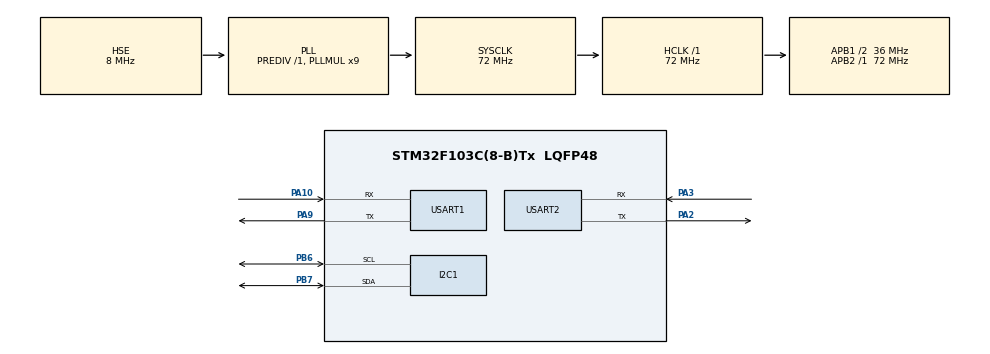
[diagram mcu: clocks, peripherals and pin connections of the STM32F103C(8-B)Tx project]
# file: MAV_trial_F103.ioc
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Mcu.Family=STM32F1
Mcu.Name=STM32F103C(8-B)Tx
Mcu.Package=LQFP48
NVIC.I2C1_EV_IRQn=true\:0\:0\:false\:false\:true\:true\:true\:true
NVIC.PriorityGroup=NVIC_PRIORITYGROUP_4
NVIC.USART1_IRQn=true\:0\:0\:false\:false\:true\:true\:true\:true
NVIC.USART2_IRQn=true\:0\:0\:false\:false\:true\:true\:true\:true
PA10.Mode=Asynchronous
PA10.Signal=USART1_RX
PA13.Mode=Serial_Wire
PA13.Signal=SYS_JTMS-SWDIO
PA14.Mode=Serial_Wire
PA14.Signal=SYS_JTCK-SWCLK
PA2.Mode=Asynchronous
PA2.Signal=USART2_TX
PA3.Mode=Asynchronous
PA3.Signal=USART2_RX
PA9.Mode=Asynchronous
PA9.Signal=USART1_TX
PB6.Mode=I2C
PB6.Signal=I2C1_SCL
PB7.Mode=I2C
PB7.Signal=I2C1_SDA
PD0-OSC_IN.Mode=HSE-External-Oscillator
PD0-OSC_IN.Signal=RCC_OSC_IN
PD1-OSC_OUT.Mode=HSE-External-Oscillator
PD1-OSC_OUT.Signal=RCC_OSC_OUT
ProjectManager.HeapSize=0x200
ProjectManager.StackSize=0x400
ProjectManager.TargetToolchain=Makefile
RCC.AHBFreq_Value=72000000
RCC.APB1CLKDivider=RCC_HCLK_DIV2
RCC.APB1Freq_Value=36000000
RCC.APB1TimFreq_Value=72000000
RCC.APB2Freq_Value=72000000
RCC.APB2TimFreq_Value=72000000
RCC.HCLKFreq_Value=72000000
RCC.PLLMUL=RCC_PLL_MUL9
RCC.PLLSourceVirtual=RCC_PLLSOURCE_HSE
RCC.SYSCLKFreq_VALUE=72000000
RCC.SYSCLKSource=RCC_SYSCLKSOURCE_PLLCLK
RCC.USBFreq_Value=72000000
USART1.VirtualMode=VM_ASYNC
USART2.VirtualMode=VM_ASYNC
board=custom

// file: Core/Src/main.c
/* USER CODE BEGIN Header */
/**
  ******************************************************************************
  * @file           : main.c
  * @brief          : Main program body
  ******************************************************************************
  * @attention
  *
  * Copyright (c) 2024 STMicroelectronics.
  * All rights reserved.
  *
  * This software is licensed under terms that can be found in the LICENSE file
  * in the root directory of this software component.
  * If no LICENSE file comes with this software, it is provided AS-IS.
  *
  ******************************************************************************
  */
/* USER CODE END Header */
#include "main.h"
#include "i2c.h"
#include "usart.h"
#include "gpio.h"

/* USER CODE BEGIN Includes */
#include "wtr_mavlink.h"
#include "oled.h"
//#include "oledfont.h"
/* USER CODE END Includes */

void SystemClock_Config(void);

/* USER CODE BEGIN 0 */
mavlink_speed_t SPEEDStructToBeSend, SPEEDStructReceived;

/* USER CODE END 0 */

int main(void)
{

  /* MCU Configuration--------------------------------------------------------*/

  /* Reset of all peripherals, Initializes the Flash interface and the Systick. */
  HAL_Init();

  /* Configure the system clock */
  SystemClock_Config();

  /* Initialize all configured peripherals */
  MX_GPIO_Init();
  MX_I2C1_Init();
  MX_USART1_UART_Init();
  MX_USART2_UART_Init();
  /* USER CODE BEGIN 2 */

 // SPEEDStructToBeSend.vx = 0;
 // SPEEDStructToBeSend.vy = 0;
 // SPEEDStructToBeSend.vz = 0;
//绑定通道与串口
  wtrMavlink_BindChannel(&huart1, MAVLINK_COMM_0);
  wtrMavlink_BindChannel(&huart2, MAVLINK_COMM_1);

  //使能
  wtrMavlink_StartReceiveIT(MAVLINK_COMM_0);
  wtrMavlink_StartReceiveIT(MAVLINK_COMM_1);

   OLED_Init(); //屏幕初始化
   OLED_Clear(); //先清屏

  /* USER CODE END 2 */

  /* Infinite loop */
  while (1)
  {

    /* USER CODE BEGIN 3 */
      //模拟变化量
    SPEEDStructToBeSend.vx +=1;
    SPEEDStructToBeSend.vy +=1;
    SPEEDStructToBeSend.vz +=1;

    mavlink_msg_speed_send_struct(MAVLINK_COMM_0, &SPEEDStructToBeSend);

  }
  /* USER CODE END 3 */
}

void SystemClock_Config(void)
{
  RCC_OscInitTypeDef RCC_OscInitStruct = {0};
  RCC_ClkInitTypeDef RCC_ClkInitStruct = {0};

  /** Initializes the RCC Oscillators according to the specified parameters
  * in the RCC_OscInitTypeDef structure.
  */
  RCC_OscInitStruct.OscillatorType = RCC_OSCILLATORTYPE_HSE;
  RCC_OscInitStruct.HSEState = RCC_HSE_ON;
  RCC_OscInitStruct.HSEPredivValue = RCC_HSE_PREDIV_DIV1;
  RCC_OscInitStruct.HSIState = RCC_HSI_ON;
  RCC_OscInitStruct.PLL.PLLState = RCC_PLL_ON;
  RCC_OscInitStruct.PLL.PLLSource = RCC_PLLSOURCE_HSE;
  RCC_OscInitStruct.PLL.PLLMUL = RCC_PLL_MUL9;
  if (HAL_RCC_OscConfig(&RCC_OscInitStruct) != HAL_OK)
  {
    Error_Handler();
  }

  /** Initializes the CPU, AHB and APB buses clocks
  */
  RCC_ClkInitStruct.ClockType = RCC_CLOCKTYPE_HCLK|RCC_CLOCKTYPE_SYSCLK
                              |RCC_CLOCKTYPE_PCLK1|RCC_CLOCKTYPE_PCLK2;
  RCC_ClkInitStruct.SYSCLKSource = RCC_SYSCLKSOURCE_PLLCLK;
  RCC_ClkInitStruct.AHBCLKDivider = RCC_SYSCLK_DIV1;
  RCC_ClkInitStruct.APB1CLKDivider = RCC_HCLK_DIV2;
  RCC_ClkInitStruct.APB2CLKDivider = RCC_HCLK_DIV1;

  if (HAL_RCC_ClockConfig(&RCC_ClkInitStruct, FLASH_LATENCY_2) != HAL_OK)
  {
    Error_Handler();
  }
}

/* USER CODE BEGIN 4 */

void HAL_UART_RxCpltCallback(UART_HandleTypeDef *huart)
{
    // 接收通道的消息
    wtrMavlink_UARTRxCpltCallback(huart, MAVLINK_COMM_1);
    OLED_ShowNum(60,4,SPEEDStructReceived.vx,3,16);
}

void wtrMavlink_MsgRxCpltCallback(mavlink_message_t *msg)
{
    switch (msg->msgid) {
        case MAVLINK_MSG_ID_SPEED:
            // 将接收到的消息解码
            mavlink_msg_speed_decode(msg, &SPEEDStructReceived);
            break;
        default:
            break;
    }
}
/* USER CODE END 4 */

void Error_Handler(void)
{
  __disable_irq();
  while (1)
  {
  }
}
